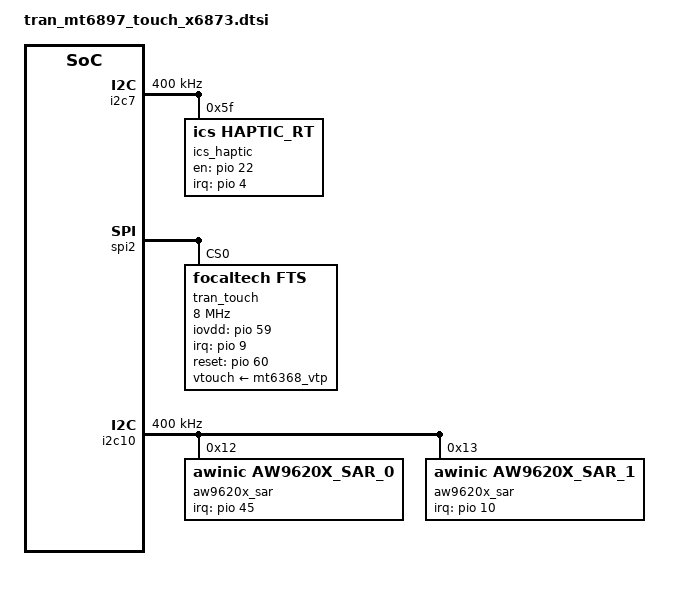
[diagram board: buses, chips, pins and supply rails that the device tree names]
// SPDX-License-Identifier: GPL-2.0
/*
 * Copyright (c) 2022 MediaTek Inc.
 */
/********************************************
 * MT6897 TOUCH/VIBR/KEY DTSI File
 ********************************************/
/* lk haptic start */
&chosen {
lra,info = <1 7 22>;//type:(1:X-lra 2:Z-lra)  bus_num:i2c7  reset_gpio:gpio22
};
/* lk haptic end */

/* key start */
&mt6363keys {
	home {
		linux,keycodes = <114>;
	};
};
/* key start */

/* RT6010 Haptic start */
&i2c7 {
	clock-frequency = <400000>;
	ics_haptic@5f {
		compatible = "ics,haptic_rt";
		reg = <0x5f>;
		interrupt-parent = <&pio>;
		interrupts = <4 IRQ_TYPE_EDGE_FALLING 4 0>;
		device-name = "vibrator_single";
		richtap-name = "aw8697_haptic";
		gpio-en = <&pio 22 0>;
		gpio-irq = <&pio 4 0>;
		status = "ok";
		// rt6010 chip configuration
		rt6010_chip_id = <0x6B>;
		rt6010_reg_size = <0x6C>;
		rt6010_ram_size = <0x600>;
		rt6010_sys_f0 = <1700>;
		rt6010_list_base_addr = <0x400>;
		rt6010_wave_base_addr = <0x420>;
		rt6010_fifo_ae = <0x200>;
		rt6010_fifo_af = <0x300>;
		rt6010_boost_mode = <0x00>;
		rt6010_boost_vol = <0x0d>;
		rt6010_gain = <0x80>;
		rt6010_brake_en = <0>;
		rt6010_brake_wave_no = <0>;
		rt6010_brake_const = <0>;
		rt6010_brake_acq_point = <0>;
	};
};
/* RT6010 Haptic end */


/* TP start */
&touch {
	supplier-num = <1>;
	supplier-vendor-0 = "TM";
	supplier-0 = "any, focaltech, ft3682g";
	supplier-resolution-0 = <16>;
};

&spi2 {
	tran_touch:touch@0 {
		 compatible = "focaltech,fts";
		 reg = <0>;
		 status = "ok";
		 spi-max-frequency = <8000000>;
		 interrupt-parent = <&pio>;
		 vtouch-supply = <&mt6368_vtp>;
		 //For ft3683g  driver config
		 focaltech,iovdd-gpio = <&pio 59 0x0>;
		 focaltech,irq-gpio = <&pio 9 0x0>;
		 focaltech,reset-gpio = <&pio 60 0x0>;
		 focaltech,max-touch-number = <10>;
		 focaltech,display-coords =  <0 0 19583 43519>;
		 focaltech,fod-function-support;
		 focaltech,pocket-function-support;
		 pinctrl-names = "default","state_spi_mode";
		 pinctrl-0 = <&ctp_pins_default>;
		 pinctrl-1 = <&ctp_pins_spi_mode>;
	};
};
&pio {
	ctp_pins_default: ctp_default {
	};
	ctp_pins_spi_mode: ctp_spimode_default {
		pins_cmd_dat {
			pinmux = <PINMUX_GPIO13__FUNC_SPI2_MI>,
					 <PINMUX_GPIO12__FUNC_SPI2_CSB>,
					 <PINMUX_GPIO14__FUNC_SPI2_MO>,
					 <PINMUX_GPIO11__FUNC_SPI2_CLK>;
			drive-strength = <2>;
		};
	};
};
/* tp end */

/* shoulder key start */
&mt6368_vio28 {
	regulator-always-on;
};
&i2c10 {
	clock-frequency = <400000>;
	status = "okay";
	aw9620x_sar@12 {
		compatible = "awinic,aw9620x_sar_0";
		reg = <0x12>;
		sar-num = < 0 >;
		interrupt-parent = <&pio>;
		interrupts = <45 0x0>;
		irq-gpio = <&pio 45 0x0>;
		//vcc0-supply = <&pm660l_l4>;
		channel_use_flag = <0xff>;
		//aw9620x,using-arr-laod-reg;
		air_diff_limit_max = <1500>;
		air_diff_limit_min = <(-1500)>;
		air_parasitic_limit_max = <400000>;
		air_parasitic_limit_min = <140000>;
		contact_diff_limit = <30000>;
		status = "okay";
	};
	aw9620x_sar@13 {
		compatible = "awinic,aw9620x_sar_1";
		reg = <0x13>;
		sar-num = < 1 >;
		interrupt-parent = <&pio>;
		interrupts = <10 0x0>;
		irq-gpio = <&pio 10 0x0>;
		//vcc0-supply = <&pm660l_l4>;
		channel_use_flag = <0xff>;
		//aw9620x,using-arr-laod-reg;
		air_diff_limit_max = <1500>;
		air_diff_limit_min = <(-1500)>;
		air_parasitic_limit_max = <650000>;
		air_parasitic_limit_min = <140000>;
		contact_diff_limit = <30000>;
		status = "okay";
	};
};
/* shoulder key end */

